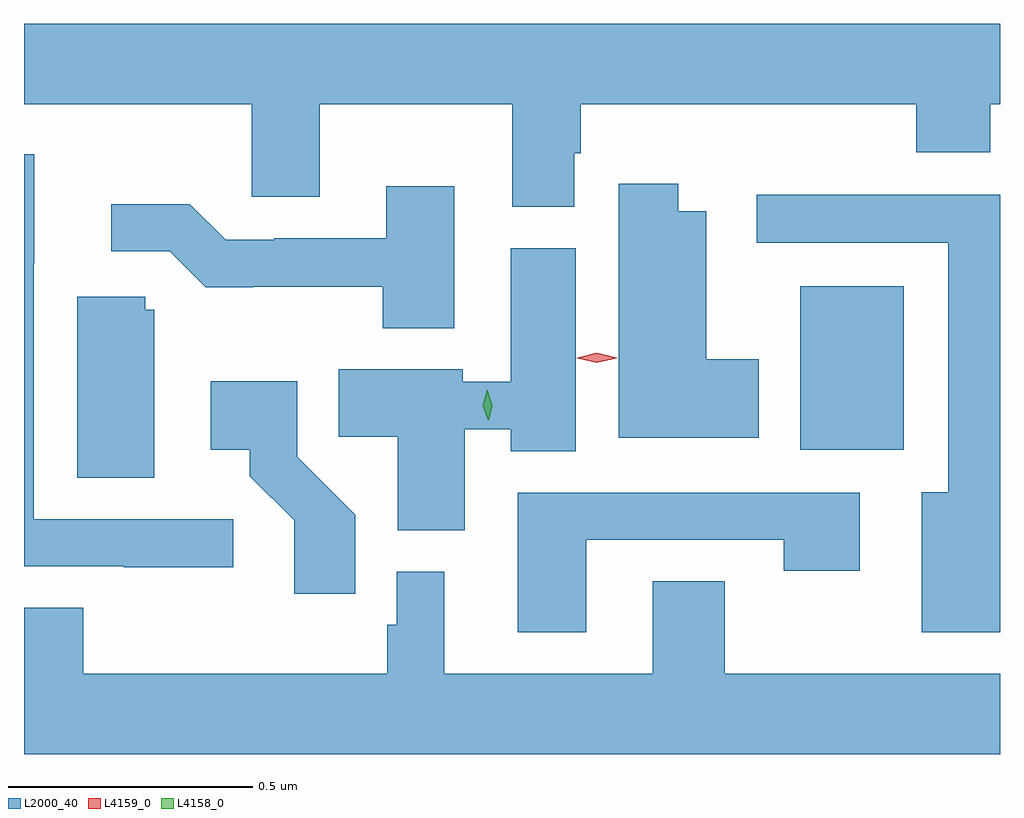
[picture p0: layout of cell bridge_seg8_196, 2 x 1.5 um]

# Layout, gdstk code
import gdstk
lib = gdstk.Library(unit=1e-6, precision=1e-09)
def R(c, l, rs):  # rectangles x0, y0, x1, y1
    for r in rs: c.add(gdstk.rectangle(r[:2], r[2:], *l))
def P(c, l, *ps):  # polygons
    for p in ps: c.add(gdstk.Polygon(p, *l))
L2000_40 = (2000, 40)
L4158_0 = (4158, 0)
L4159_0 = (4159, 0)

bridge_seg8_196 = lib.new_cell('bridge_seg8_196')
R(bridge_seg8_196, L2000_40, [(344.222,1091.816,344.434,1092.151)])
P(bridge_seg8_196, L2000_40, [(343.759,1092.423),(343.772,1092.423),(343.772,1092.524),(344.459,1092.524),(344.459,1092.425),(344.611,1092.425),(344.611,1092.524),(344.631,1092.524),(344.631,1092.688),(342.631,1092.688),(342.631,1092.524),(343.098,1092.524),(343.098,1092.334),(343.237,1092.334),(343.237,1092.524),(343.631,1092.524),(343.631,1092.313),(343.759,1092.313)],
  [(343.06,1091.673),(342.651,1091.673),(342.651,1092.198),(342.652,1092.198),(342.652,1092.421),(342.631,1092.421),(342.631,1091.577),(342.835,1091.577),(342.835,1091.575),(343.06,1091.575)],
  [(344.137,1092.001),(344.029,1092.001),(344.029,1092.304),(343.972,1092.304),(343.972,1092.361),(343.85,1092.361),(343.85,1091.84),(344.137,1091.84)],
  [(343.513,1092.355),(343.373,1092.355),(343.373,1092.249),(343.144,1092.249),(343.144,1092.246),(343.044,1092.246),(342.971,1092.319),(342.81,1092.319),(342.81,1092.222),(342.93,1092.222),(343.003,1092.149),(343.102,1092.149),(343.102,1092.15),(343.366,1092.15),(343.366,1092.065),(343.513,1092.065)],
  [(344.631,1092.338),(344.133,1092.338),(344.133,1092.24),(344.525,1092.24),(344.525,1091.728),(344.471,1091.728),(344.471,1091.442),(344.631,1091.442)],
  [(343.534,1091.858),(343.628,1091.858),(343.628,1091.812),(343.762,1091.812),(343.762,1092.228),(343.628,1092.228),(343.628,1091.955),(343.53,1091.955),(343.53,1091.98),(343.276,1091.98),(343.276,1091.842),(343.397,1091.842),(343.397,1091.651),(343.534,1091.651)],
  [(342.898,1092.102),(342.879,1092.102),(342.879,1092.129),(342.74,1092.129),(342.74,1091.758),(342.898,1091.758)],
  [(343.31,1091.682),(343.191,1091.801),(343.191,1091.956),(343.014,1091.956),(343.014,1091.816),(343.094,1091.816),(343.094,1091.761),(343.185,1091.671),(343.185,1091.52),(343.31,1091.52)],
  [(343.783,1091.631),(344.188,1091.631),(344.188,1091.568),(344.344,1091.568),(344.344,1091.727),(343.643,1091.727),(343.643,1091.442),(343.783,1091.442)],
  [(343.919,1091.546),(343.919,1091.356),(343.492,1091.356),(343.492,1091.566),(343.395,1091.566),(343.395,1091.457),(343.375,1091.457),(343.375,1091.356),(342.752,1091.356),(342.752,1091.492),(342.631,1091.492),(342.631,1091.192),(344.631,1091.192),(344.631,1091.356),(344.067,1091.356),(344.067,1091.546)])
P(bridge_seg8_196, L4158_0, [(343.582,1091.876),(343.571,1091.906),(343.58,1091.938),(343.58,1091.938),(343.58,1091.938),(343.591,1091.907),(343.583,1091.876),(343.583,1091.876)])
P(bridge_seg8_196, L4159_0, [(343.805,1091.994),(343.765,1092.003),(343.765,1092.004),(343.765,1092.004),(343.805,1092.014),(343.846,1092.004),(343.846,1092.004),(343.846,1092.003)])

lib.write_gds('bridge_seg8_196.gds')
